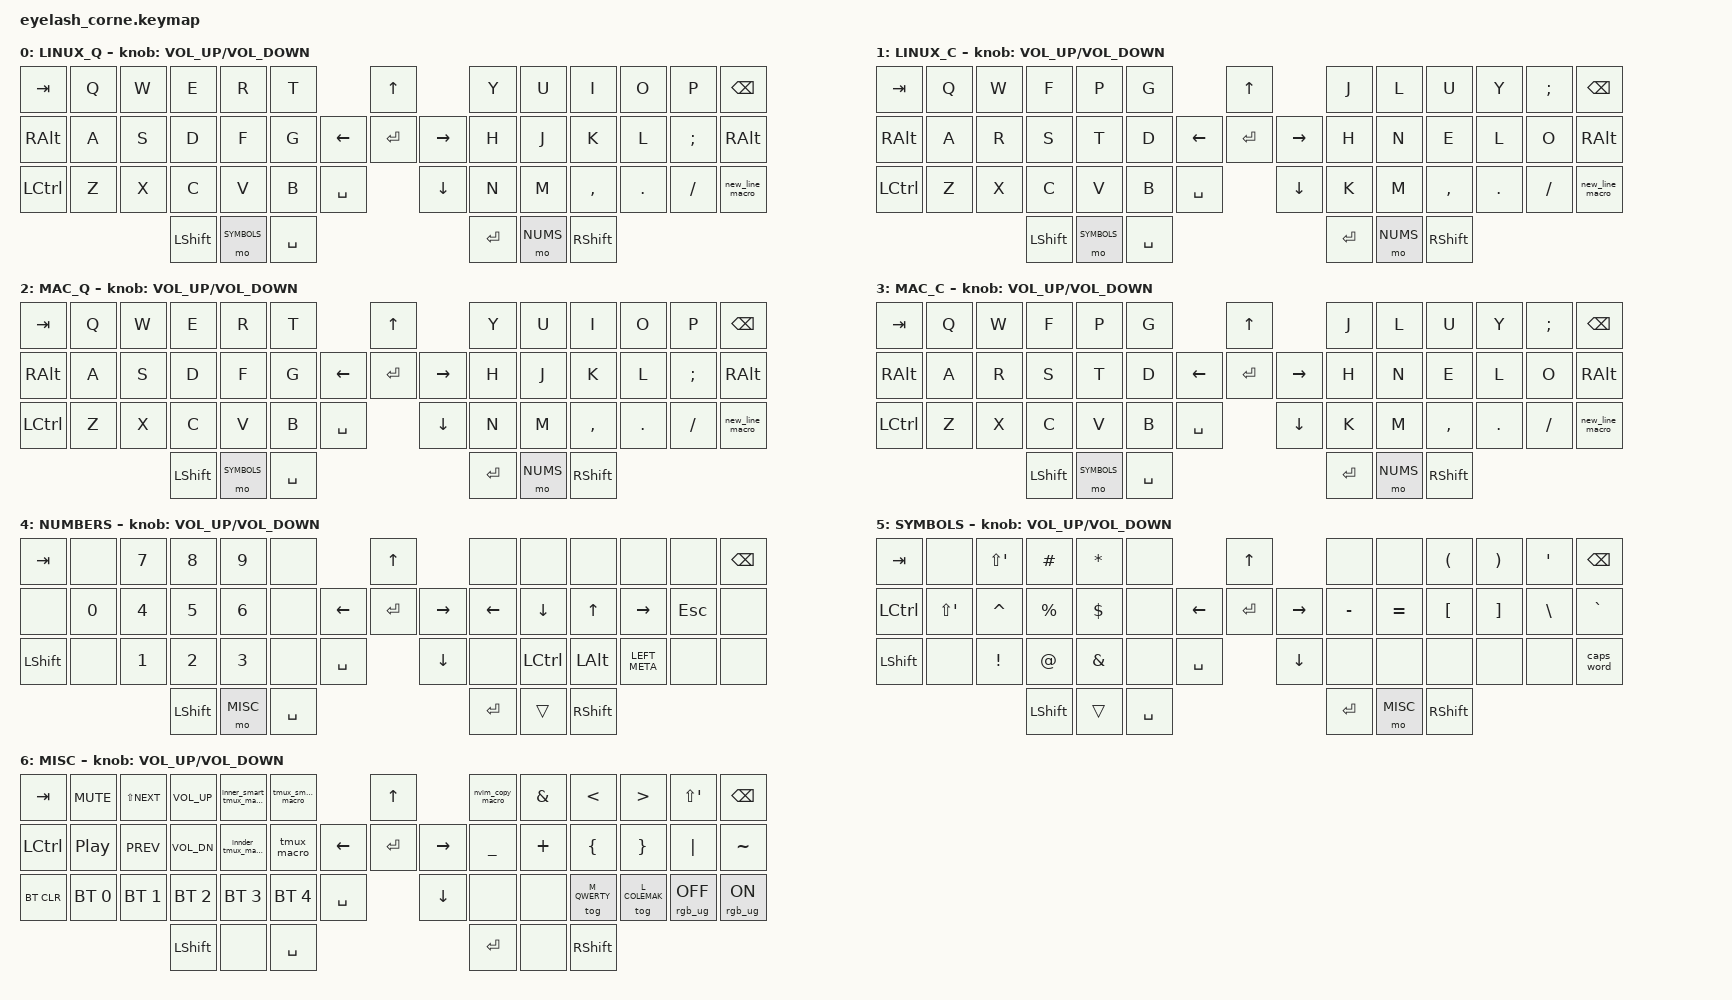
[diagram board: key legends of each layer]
#define ZMK_POINTING_DEFAULT_MOVE_VAL 1200  // 600
#define ZMK_POINTING_DEFAULT_SCRL_VAL 25   // 10

#include <input/processors.dtsi>
#include <zephyr/dt-bindings/input/input-event-codes.h>
#include <behaviors.dtsi>
#include <dt-bindings/zmk/bt.h>
#include <dt-bindings/zmk/keys.h>
#include <dt-bindings/zmk/pointing.h>
#include <dt-bindings/zmk/rgb.h>

#define L_QWERTY    0
#define L_COLEMAK	1
#define M_QWERTY	2
#define M_COLEMAK	3
#define NUMS		4
#define SYMBOLS 	5
#define MISC		6

/////this is magic for scroll encoder (which i dont have)

&mmv_input_listener { input-processors = <&zip_xy_scaler 2 1>; };

&msc_input_listener { input-processors = <&zip_scroll_scaler 2 1>; };

&msc {
    acceleration-exponent = <1>;      // 0
    time-to-max-speed-ms = <100>;       // 300
    delay-ms = <0>;                   // 0
};

&mmv {
    time-to-max-speed-ms = <500>;
    acceleration-exponent = <1>;
    trigger-period-ms = <16>;
};

/ {
    rgb_encoder: rgb_encoder {
        compatible = "zmk,behavior-sensor-rotate";
        #sensor-binding-cells = <0>;
        bindings = <&rgb_ug RGB_BRI>, <&rgb_ug RGB_BRD>;
    };

    scroll_encoder: scroll_encoder {
        compatible = "zmk,behavior-sensor-rotate";
        #sensor-binding-cells = <0>;
        bindings = <&msc SCRL_DOWN>, <&msc SCRL_UP>;

        tap-ms = <100>;
    };

    macros {
        copy_macro: copy_macro {
            compatible = "zmk,behavior-macro";
            #binding-cells = <0>;
            bindings =
                <&macro_press>,
                <&kp LEFT_CONTROL>,
                <&macro_tap>,
                <&kp C>,
                <&macro_release>,
                <&kp LEFT_CONTROL>;
        };

        copy_macro_mac: copy_macro_mac {
            compatible = "zmk,behavior-macro";
            #binding-cells = <0>;
            bindings =
                <&macro_press>,
                <&kp LEFT_META>,
                <&macro_tap>,
                <&kp C>,
                <&macro_release>,
                <&kp LEFT_META>;
        };

        paste_macro: paste_macro {
            compatible = "zmk,behavior-macro";
            #binding-cells = <0>;
            bindings =
                <&macro_press>,
                <&kp LEFT_CONTROL>,
                <&macro_tap>,
                <&kp V>,
                <&macro_release>,
                <&kp LEFT_CONTROL>;
        };

        paste_macro_mac: paste_macro_mac {
            compatible = "zmk,behavior-macro";
            #binding-cells = <0>;
            bindings =
                <&macro_press>,
                <&kp LEFT_META>,
                <&macro_tap>,
                <&kp V>,
                <&macro_release>,
                <&kp LEFT_META>;
        };

        special_paste_macro: special_paste_macro {
            compatible = "zmk,behavior-macro";
            #binding-cells = <0>;
            bindings =
                <&macro_press>,
                <&kp LGUI &kp LSHFT>,
                <&macro_tap>,
                <&kp V>,
                <&macro_release>,
                <&kp LGUI &kp LSHFT>;
        };

        new_line_macro: new_line_macro {
            compatible = "zmk,behavior-macro";
            #binding-cells = <0>;
            bindings =
                <&macro_press>,
                <&kp LSHFT>,
                <&macro_tap>,
                <&kp RET>,
                <&macro_release>,
                <&kp LSHFT>;
        };

        screen_shot_macro: screen_shot_macro {
            compatible = "zmk,behavior-macro";
            #binding-cells = <0>;
            bindings =
                <&macro_press>,
                <&kp LSHFT &kp LCTRL &kp LGUI>,
                <&macro_tap>,
                <&kp N4>,
                <&macro_release>,
                <&kp LSHFT &kp LCTRL &kp LGUI>;
        };

        tmux_macro: tmux_macro {
            compatible = "zmk,behavior-macro";
            #binding-cells = <0>;
            bindings =
                <&macro_press>,
                <&kp LCTRL>,
                <&macro_tap>,
                <&kp B>,
                <&macro_release>,
                <&kp LCTRL>;
        };

        orion_macro: orion_macro {
            compatible = "zmk,behavior-macro";
            #binding-cells = <0>;
            bindings =
                <&macro_press>,
                <&kp LCTRL &kp LGUI>,
                <&macro_tap>,
                <&kp S>,
                <&macro_release>,
                <&kp LCTRL &kp LGUI>;
        };

        nvim_copy_macro: nvim_copy_macro {
            compatible = "zmk,behavior-macro";
            #binding-cells = <0>;
            bindings =
                <&macro_press>,
                <&kp LSHFT>,
                <&macro_tap>,
                <&kp SQT>,
                <&macro_release>,
                <&kp LSHFT>,
                <&macro_press>,
                <&kp LSHFT>,
                <&macro_tap>,
                <&kp PLUS>,
                <&macro_release>,
                <&kp LSHFT>,
                <&macro_tap>,
                <&kp Y>;
        };

        tmux_smart_macro: tmux_smart_macro {
            compatible = "zmk,behavior-macro";
            #binding-cells = <0>;
            bindings =
                <&macro_press>,
                <&kp LCTRL>,
                <&macro_tap>,
                <&kp B>,
                <&macro_release>,
                <&kp LCTRL>,
                <&macro_tap>,
                <&kp H>,
                <&macro_press>,
                <&kp LCTRL>,
                <&macro_tap>,
                <&kp B>,
                <&macro_release>,
                <&kp LCTRL>,
                <&macro_tap>,
                <&kp Z>;
        };

        innder_tmux_macro: innder_tmux_macro {
            compatible = "zmk,behavior-macro";
            #binding-cells = <0>;
            bindings =
                <&macro_press>,
                <&kp LCTRL>,
                <&macro_tap>,
                <&kp A>,
                <&macro_release>,
                <&kp LCTRL>;

            label = "INNDER_TMUX_MACRO";
        };

        inner_smart_tmux_macro: inner_smart_tmux_macro {
            compatible = "zmk,behavior-macro";
            #binding-cells = <0>;
            bindings =
                <&macro_press>,
                <&kp LCTRL>,
                <&macro_tap>,
                <&kp A>,
                <&macro_release>,
                <&kp LCTRL>,
                <&macro_tap>,
                <&kp H>,
                <&macro_press>,
                <&kp LCTRL>,
                <&macro_tap>,
                <&kp A>,
                <&macro_release>,
                <&kp LCTRL>,
                <&macro_tap>,
                <&kp Z>;

            label = "INNER_SMART_TMUX_MACRO";
        };

        terminal_copy_macro: terminal_copy_macro {
            compatible = "zmk,behavior-macro";
            #binding-cells = <0>;
            bindings =
                <&macro_press>,
                <&kp LS(LEFT_CONTROL)>,
                <&macro_tap>,
                <&kp C>,
                <&macro_release>,
                <&kp LS(LEFT_CONTROL)>;

            label = "TERMINCAL_COPY_MACRO";
        };

        terminal_paste_macro: terminal_paste_macro {
            compatible = "zmk,behavior-macro";
            #binding-cells = <0>;
            bindings =
                <&macro_press>,
                <&kp LS(LEFT_CONTROL)>,
                <&macro_tap>,
                <&kp V>,
                <&macro_release>,
                <&kp LS(LEFT_CONTROL)>;

            label = "TERMINAL_PASTE_MACRO";
        };

        shift_control_macro: shift_control_macro {
            compatible = "zmk,behavior-macro";
            #binding-cells = <0>;
            bindings = <&kp LEFT_CONTROL>, <&kp LEFT_SHIFT>;

            label = "SHIFT_CONTROL_MACRO";
        };

    };

    combos {
        compatible = "zmk,combos";

        left_control {
            bindings = <&kp LEFT_CONTROL>;
            key-positions = <17 16>;
            layers = <0 1 2 3>;
        };

        right_control {
            bindings = <&kp RIGHT_CONTROL>;
            key-positions = <23 24>;
            layers = <0 1 2 3>;
        };

        left_alt {
            bindings = <&kp LEFT_ALT>;
            key-positions = <16 15>;
            layers = <0 1 2 3>;
        };

        right_alt {
            bindings = <&kp LEFT_ALT>;
            key-positions = <24 25>;
            layers = <0 1 2 3>;
        };

        left_meta {
            bindings = <&kp LEFT_META>;
            key-positions = <15 14>;
            layers = <0 1 2 3>;
        };

        right_meta {
            bindings = <&kp RIGHT_META>;
            key-positions = <26 25>;
            layers = <0 1 2 3>;
        };

        copy_macro_combo {
            bindings = <&copy_macro>;
            key-positions = <30 31 32>;
            layers = <0 1>;
        };

        paste_macro_combo {
            bindings = <&paste_macro>;
            key-positions = <3 4 2>;
            layers = <0 1>;
        };

        terminal_copy_macro {
            bindings = <&terminal_copy_macro>;
            key-positions = <37 38 39>;
            layers = <0 1>;
        };

        terminal_paste_macro {
            bindings = <&terminal_paste_macro>;
            key-positions = <8 9 10>;
            layers = <0 1>;
        };

        left_alt_shift {
            bindings = <&kp LS(LEFT_ALT)>;
            key-positions = <16 15 14>;
            layers = <0 1 2 3>;
        };

        right_alt_shift {
            bindings = <&kp LS(LEFT_ALT)>;
            key-positions = <26 24 25>;
            layers = <0 1 2 3>;
        };

        left_control_shift {
            bindings = <&shift_control_macro>;
            key-positions = <17 16 15>;
            layers = <0 1 2 3>;
        };

        right_control_shift {
            bindings = <&shift_control_macro>;
            key-positions = <27 26 25>;
            layers = <0 1 2 3>;
        };

        ///// common

        left_meta_control {
            bindings = <&kp LEFT_META>, <&kp LEFT_CONTROL>;
            key-positions = <17 14>;
            layers = <0 1 2 3>;
        };

        right_meta_control {
            bindings = <&kp RIGHT_META>, <&kp LEFT_CONTROL>;
            key-positions = <23 26>;
            layers = <0 1 2 3>;
        };

        thumb_alt {
            bindings = <&kp LALT>;
            key-positions = <45 44>;
        };

        caps_word_right {
            bindings = <&caps_word>;
            key-positions = <22 23>;
            layers = <0 1 2 3>;
        };

        caps_word_left {
            bindings = <&caps_word>;
            key-positions = <18 17>;
            layers = <0 1 2 3>;
        };

        right_combo {
            bindings = <&kp RIGHT_GUI>, <&kp LEFT_ALT>, <&kp LEFT_CONTROL>;
            key-positions = <23 24 25 26>;
        };

        left_combo {
            bindings = <&kp LEFT_GUI>, <&kp LEFT_ALT>, <&kp LEFT_CONTROL>;
            key-positions = <14 15 16 17>;
        };

        //right_combo_mac {
        //    bindings = <&kp RIGHT_GUI>, <&kp LEFT_ALT>, <&kp LEFT_CONTROL>, <&kp RIGHT_SHIFT>;
        //    key-positions = <23 24>;
        //    layers = <2 3>;
        //};

        //left_combo_mac {
        //    bindings = <&kp RIGHT_GUI>, <&kp LEFT_ALT>, <&kp LEFT_CONTROL>, <&kp RIGHT_SHIFT>;
        //    key-positions = <17 16>;
        //    layers = <2 3>;
        //};

        left_alt_control {
            bindings = <&kp LEFT_CONTROL>, <&kp LEFT_ALT>;
            key-positions = <15 17>;
        };

        right_alt_control {
            bindings = <&kp RIGHT_CONTROL>, <&kp LEFT_ALT>;
            key-positions = <23 25>;
        };

        termianl_paste_macos {
            bindings = <&paste_macro_mac>;
            key-positions = <8 9 10>;
            layers = <2 3>;
        };

        terminal_copy_macos {
            bindings = <&copy_macro_mac>;
            key-positions = <37 38 39>;
            layers = <2 3>;
        };

        copy_macos {
            bindings = <&copy_macro_mac>;
            key-positions = <30 31 32>;
            layers = <2 3>;
        };

        paste_macos {
            bindings = <&paste_macro_mac>;
            key-positions = <3 4 2>;
            layers = <2 3>;
        };
    };

    keymap {
        compatible = "zmk,keymap";

        linux_qwerty_layer {
            display-name = "LINUX_Q";
            bindings = <
&kp TAB    &kp Q  &kp W  &kp E       &kp R        &kp T                             &kp UP                &kp Y    &kp U     &kp I       &kp O    &kp P     &kp BSPC
&kp RALT   &kp A  &kp S  &kp D       &kp F        &kp G                   &kp LEFT  &kp ENTER  &kp RIGHT  &kp H    &kp J     &kp K       &kp L    &kp SEMI  &kp RALT
&kp LCTRL  &kp Z  &kp X  &kp C       &kp V        &kp B      &kp SPACE              &kp DOWN              &kp N    &kp M     &kp COMMA   &kp DOT  &kp FSLH  &new_line_macro
                         &kp LSHIFT  &mo SYMBOLS  &kp SPACE                                               &kp RET  &mo NUMS  &kp RSHIFT
            >;

            sensor-bindings = <&inc_dec_kp C_VOLUME_UP C_VOLUME_DOWN>;
        };

        linux_colemak_layer {
            display-name = "LINUX_C";
            bindings = <
&kp TAB    &kp Q  &kp W  &kp F       &kp P        &kp G                             &kp UP                &kp J    &kp L     &kp U       &kp Y    &kp SEMI  &kp BSPC
&kp RALT   &kp A  &kp R  &kp S       &kp T        &kp D                   &kp LEFT  &kp ENTER  &kp RIGHT  &kp H    &kp N     &kp E       &kp L    &kp O     &kp RALT
&kp LCTRL  &kp Z  &kp X  &kp C       &kp V        &kp B      &kp SPACE              &kp DOWN              &kp K    &kp M     &kp COMMA   &kp DOT  &kp FSLH  &new_line_macro
                         &kp LSHIFT  &mo SYMBOLS  &kp SPACE                                               &kp RET  &mo NUMS  &kp RSHIFT
            >;

            sensor-bindings = <&inc_dec_kp C_VOLUME_UP C_VOLUME_DOWN>;
        };

        mac_qwerty_layer {
            display-name = "MAC_Q";
            bindings = <
&kp TAB    &kp Q  &kp W  &kp E       &kp R        &kp T                             &kp UP                &kp Y    &kp U     &kp I       &kp O    &kp P     &kp BSPC
&kp RALT   &kp A  &kp S  &kp D       &kp F        &kp G                   &kp LEFT  &kp ENTER  &kp RIGHT  &kp H    &kp J     &kp K       &kp L    &kp SEMI  &kp RALT
&kp LCTRL  &kp Z  &kp X  &kp C       &kp V        &kp B      &kp SPACE              &kp DOWN              &kp N    &kp M     &kp COMMA   &kp DOT  &kp FSLH  &new_line_macro
                         &kp LSHIFT  &mo SYMBOLS  &kp SPACE                                               &kp RET  &mo NUMS  &kp RSHIFT
            >;

            sensor-bindings = <&inc_dec_kp C_VOLUME_UP C_VOLUME_DOWN>;
        };

        mac_colemak_layer {
            display-name = "MAC_C";
            bindings = <
&kp TAB    &kp Q  &kp W  &kp F       &kp P        &kp G                             &kp UP                &kp J    &kp L     &kp U       &kp Y    &kp SEMI  &kp BSPC
&kp RALT   &kp A  &kp R  &kp S       &kp T        &kp D                   &kp LEFT  &kp ENTER  &kp RIGHT  &kp H    &kp N     &kp E       &kp L    &kp O     &kp RALT
&kp LCTRL  &kp Z  &kp X  &kp C       &kp V        &kp B      &kp SPACE              &kp DOWN              &kp K    &kp M     &kp COMMA   &kp DOT  &kp FSLH  &new_line_macro
                         &kp LSHIFT  &mo SYMBOLS  &kp SPACE                                               &kp RET  &mo NUMS  &kp RSHIFT
            >;

            sensor-bindings = <&inc_dec_kp C_VOLUME_UP C_VOLUME_DOWN>;
        };

        number_layer {
            display-name = "NUMBERS";
            bindings = <
&kp TAB    &none   &kp N7  &kp N8      &kp N9    &none                             &kp UP                &none     &none             &none         &none          &none    &kp BSPC
&none      &kp N0  &kp N4  &kp N5      &kp N6    &none                   &kp LEFT  &kp ENTER  &kp RIGHT  &kp LEFT  &kp DOWN          &kp UP        &kp RIGHT      &kp ESC  &none
&kp LSHFT  &none   &kp N1  &kp N2      &kp N3    &none      &kp SPACE              &kp DOWN              &none     &kp LEFT_CONTROL  &kp LEFT_ALT  &kp LEFT_META  &none    &none
                           &kp LSHIFT  &mo MISC  &kp SPACE                                               &kp RET   &trans            &kp RSHIFT
            >;

            sensor-bindings = <&inc_dec_kp C_VOLUME_UP C_VOLUME_DOWN>;
        };

        symbols_layer {
            display-name = "SYMBOLS";
            bindings = <
&kp TAB    &none        &kp LS(SQT)  &kp HASH    &kp ASTERISK   &none                             &kp UP                &none      &none      &kp LPAR    &kp RPAR  &kp SQT   &kp BSPC
&kp LCTRL  &kp LS(SQT)  &kp CARET    &kp PRCNT   &kp DLLR       &none                   &kp LEFT  &kp ENTER  &kp RIGHT  &kp MINUS  &kp EQUAL  &kp LBKT    &kp RBKT  &kp BSLH  &kp GRAVE
&kp LSHFT  &none        &kp EXCL     &kp AT      &kp AMPERSAND  &none      &kp SPACE              &kp DOWN              &none      &none      &none       &none     &none     &caps_word
                                     &kp LSHIFT  &trans         &kp SPACE                                               &kp RET    &mo MISC   &kp RSHIFT
            >;

            sensor-bindings = <&inc_dec_kp C_VOLUME_UP C_VOLUME_DOWN>;
        };

        misc_layer {
            display-name = "MISC";
            bindings = <
&kp TAB     &kp C_MUTE    &kp LS(C_NEXT)  &kp C_VOLUME_UP  &inner_smart_tmux_macro  &tmux_smart_macro                         &kp UP                &nvim_copy_macro  &kp AMPS  &kp LT			&kp GT          &kp LS(SQT)      &kp BSPC
&kp LCTRL   &kp C_PP      &kp C_PREV      &kp C_VOL_DN     &innder_tmux_macro       &tmux_macro                     &kp LEFT  &kp ENTER  &kp RIGHT  &kp UNDER         &kp PLUS  &kp LBRC		&kp RBRC        &kp PIPE         &kp TILDE
&bt BT_CLR  &bt BT_SEL 0  &bt BT_SEL 1    &bt BT_SEL 2     &bt BT_SEL 3             &bt BT_SEL 4       &kp SPACE              &kp DOWN              &none             &none     &tog M_QWERTY   &tog L_COLEMAK  &rgb_ug RGB_OFF  &rgb_ug RGB_ON
                                          &kp LSHIFT       &none                    &kp SPACE                                                       &kp RET           &none     &kp RSHIFT
            >;

            sensor-bindings = <&inc_dec_kp C_VOLUME_UP C_VOLUME_DOWN>;
        };
    };
};
